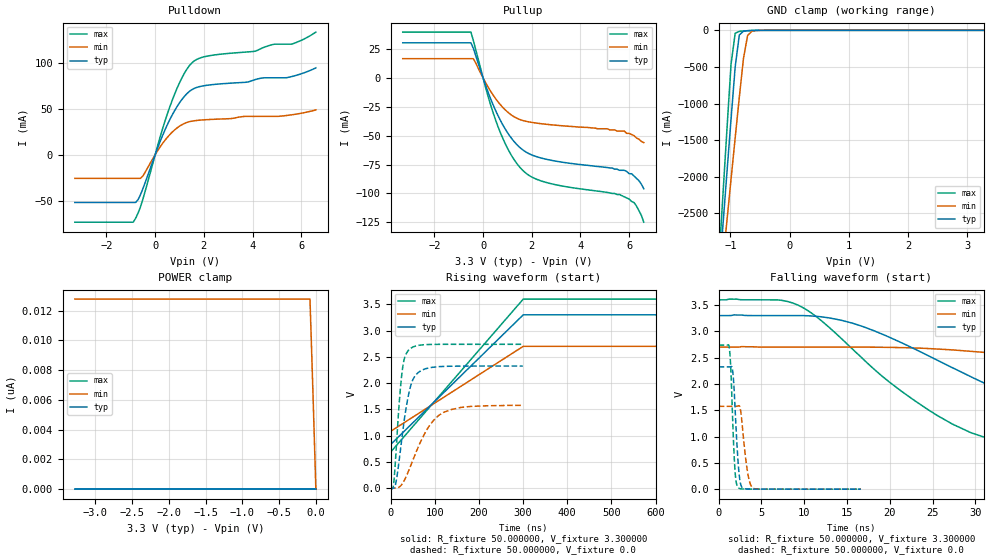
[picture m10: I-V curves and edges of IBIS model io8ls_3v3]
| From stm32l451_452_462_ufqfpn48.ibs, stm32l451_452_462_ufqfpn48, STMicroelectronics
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|   Model io8ls_3v3
[Model]  io8ls_3v3
Model_type I/O
Polarity   Non-Inverting
Enable   Active-Low
Vinl =   0.990000V
Vinh =   2.310000V
Vmeas =  1.650000V
Cref =   100.000000nF
Rref =   1.000000k
Vref =   3.300000V
C_comp   2.267200pF   2.233100pF   2.322300pF
[Temperature Range]   25.000000   0.125000k   -40.000000
[Pullup Reference]   3.300000V   2.700000V   3.600000V
[Pulldown Reference]   0.0V   0.0V   0.0V
[POWER Clamp Reference]   3.300000V   2.700000V   3.600000V
[GND Clamp Reference]   0.0V   0.0V   0.0V
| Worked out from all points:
|   slope of the pulldown table from 0 to 0.495 V, typ, clamps not added: 15.3 ohm
|   slope of the pullup table from 0 to 0.495 V, typ, clamps not added: 18.1 ohm
|   GND clamp passes 1 mA (typ) near -0.58 V on its own axis
|   rising waveform, R_fixture 50.000000, V_fixture 3.300000: 20-80 % time 180ns typ, 180ns min, 180ns max; typ from 0.831 V to 3.3 V
|   rising waveform, R_fixture 50.000000, V_fixture 0.0: 20-80 % time 24.3ns typ, 54.4ns min, 14.6ns max; typ from 0 V to 2.33 V
|   falling waveform, R_fixture 50.000000, V_fixture 3.300000: 20-80 % time 21ns typ, 41.5ns min, 13.6ns max; typ from 3.3 V to 0.831 V
|   falling waveform, R_fixture 50.000000, V_fixture 0.0: 20-80 % time 475ps typ, 656ps min, 393ps max; typ from 2.33 V to 0 V
[Pulldown]
|Voltage   I(typ)   I(min)   I(max)
-3.3V     -51.87mA   -25.68mA   -73.32mA
-900mV    -51.87mA   -25.68mA   -73.32mA
-700mV    -48.68mA   -25.68mA   -63.27mA
-500mV    -36.68mA   -22.92mA   -47.9mA
200mV     14.09mA    8.363mA    18.97mA
700mV     43.2mA     24.54mA    59.15mA
1.2V      63.38mA    34mA       88.53mA
1.6V      72.01mA    36.89mA    101.8mA
4.1V      81.58mA    41.61mA    112.4mA
4.9V      83.61mA    41.61mA    120.1mA
5.6V      84.89mA    43.33mA    120.1mA
6.6V      94.39mA    48.68mA    133.3mA
[Pullup]
|Voltage   I(typ)   I(min)   I(max)
-3.3V     30.51mA    16.73mA    39.79mA
-500mV    30.51mA    16.73mA    39.79mA
-400mV    25.73mA    16.73mA    32.44mA
200mV     -11.99mA   -7.69mA    -15.6mA
500mV     -27.53mA   -17.49mA   -35.6mA
1V        -47.29mA   -29.38mA   -60.81mA
1.5V      -60.05mA   -35.95mA   -77.15mA
1.9V      -65.77mA   -38.13mA   -84.64mA
2.6V      -70.47mA   -40.14mA   -90.6mA
5.6V      -80mA      -46mA      -101mA
6.2V      -85mA      -50mA      -108mA
6.6V      -96mA      -56mA      -125mA
[GND_clamp]
|Voltage   I(typ)   I(min)   I(max)
-3.3V     -9.456A    -9.706A    -9.779A
-1.2V     -3.441A    -3.76A     -3.218A
-1.13V    -2.694A    -3.182A    -2.288A
-1.06V    -1.951A    -2.607A    -1.365A
-990mV    -1.216A    -2.035A    -464.9mA
-920mV    -500mA     -1.468A    -40.15mA
-850mV    -63.51mA   -913mA     -13.79mA
-780mV    -11.84mA   -384.3mA   -8.858mA
-710mV    -4.78mA    -70.26mA   -5.228mA
-640mV    -2.25mA    -14.29mA   -2.447mA
-430mV    -27.1uA    -149uA     -11.19uA
3.28V     0A         0A         0A
[POWER_clamp]
|Voltage   I(typ)   I(min)   I(max)
-3.28V    0A         12.77nA    0A
-80mV     0A         12.77nA    0A
-40mV     0A         6.549nA    0A
0V        0A         0A         0A
[Ramp]
| variable   typ   min   max
dV/dt_r  1.39476/24.30683n   0.94506/54.41207n   1.64316/14.55319n
dV/dt_f  1.48126/21.06482n   0.97098/44.57739n   1.74767/13.63828n
R_load = 50.000000
[Rising Waveform]
R_fixture= 50.000000
V_fixture= 3.300000
V_fixture_min= 2.700000
V_fixture_max= 3.600000
|time   V(typ)   V(min)   V(max)
0s        831.2mV    1.082V     687.2mV
300.3ns   3.3V       2.7V       3.6V
600.6ns   3.3V       2.7V       3.6V
29.73us   3.3V       2.7V       3.6V
[Rising Waveform]
R_fixture= 50.000000
V_fixture= 0.0
V_fixture_min= 0.0
V_fixture_max= 0.0
|time   V(typ)   V(min)   V(max)
0s        2.592nV    41.12nV    2.445nV
7.207ns   2.235mV    -150.5uV   116.2mV
12.61ns   138.2mV    1.133mV    764.7mV
19.82ns   570.6mV    23mV       1.676V
27.03ns   1.062V     92.16mV    2.291V
39.64ns   1.743V     309.4mV    2.62V
61.86ns   2.198V     771.6mV    2.716V
87.09ns   2.289V     1.18V      2.735V
118.9ns   2.317V     1.439V     2.738V
299.1ns   2.325V     1.575V     2.739V
[Falling Waveform]
R_fixture= 50.000000
V_fixture= 3.300000
V_fixture_min= 2.700000
V_fixture_max= 3.600000
|time   V(typ)   V(min)   V(max)
0s        3.3V       2.7V       3.6V
9.309ns   3.3V       2.7V       3.497V
15.92ns   3.141V     2.7V       2.62V
25.53ns   2.453V     2.664V     1.402V
29.73ns   2.116V     2.617V     1.059V
35.14ns   1.728V     2.529V     872.5mV
45.65ns   1.184V     2.294V     770mV
56.76ns   995.6mV    2.009V     727.7mV
91.89ns   863.6mV    1.303V     693.4mV
149.5ns   831.2mV    1.082V     687.2mV
[Falling Waveform]
R_fixture= 50.000000
V_fixture= 0.0
V_fixture_min= 0.0
V_fixture_max= 0.0
|time   V(typ)   V(min)   V(max)
0s        2.325V     1.575V     2.739V
1.235ns   2.325V     1.575V     2.705V
1.435ns   2.33V      1.575V     2.254V
1.702ns   2.15V      1.575V     1.059V
1.969ns   1.384V     1.575V     246.7mV
2.302ns   455.6mV    1.584V     27.2mV
2.703ns   43.1mV     1.314V     4.228mV
3.403ns   2.827mV    303.3mV    1.778mV
4.037ns   1.379mV    17.38mV    1.399mV
16.62ns   2.592nV    41.12nV    2.445nV
